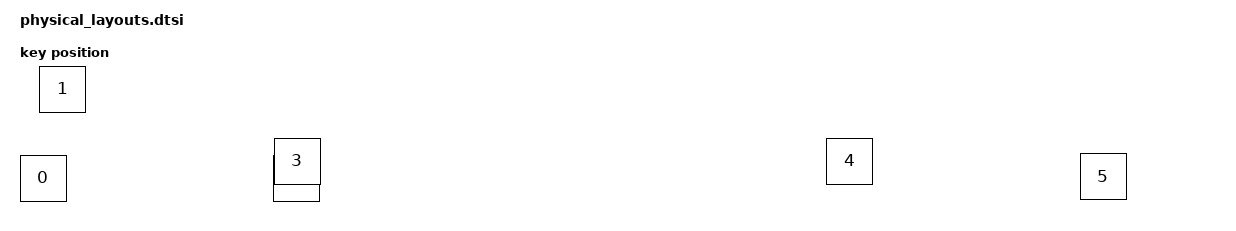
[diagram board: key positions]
/*
 * Physical layout for XM001-Adept_BLE.
 *
 * X/Y are taken from the PCB footprint origins (1/100 mil, rounded); they
 * only need to be relatively correct — ZMK Studio and keymap-drawer use them
 * for display.
 *
 * The trackball sits in the middle of the board (PCB x ~1435, y ~1437).
 *
 * SPDX-License-Identifier: MIT
 */

/ {
	xm001_layout: xm001_layout {
		compatible = "zmk,physical-layout";
		display-name = "XM001-Adept BLE";

		keys  //                     w   h    x    y   rot  rx  ry
			= <&key_physical_attrs 100 100  582  284    0   0   0>   /* K1  S1 */
			, <&key_physical_attrs 100 100  621  106    0   0   0>   /* K2  S2 */
			, <&key_physical_attrs 100 100 1088  285    0   0   0>   /* K3  S3 */
			, <&key_physical_attrs 100 100 1090  250    0   0   0>   /* K4  S4 */
			, <&key_physical_attrs 100 100 2195  250    0   0   0>   /* K5  S5 */
			, <&key_physical_attrs 100 100 2702  281    0   0   0>   /* K6  S6 */
			;
	};

	/* Retained so the shield also works on ZMK revisions that still select a
	 * matrix transform by name rather than through the physical layout. */
	chosen {
		zmk,physical-layout = &xm001_layout;
	};
};
